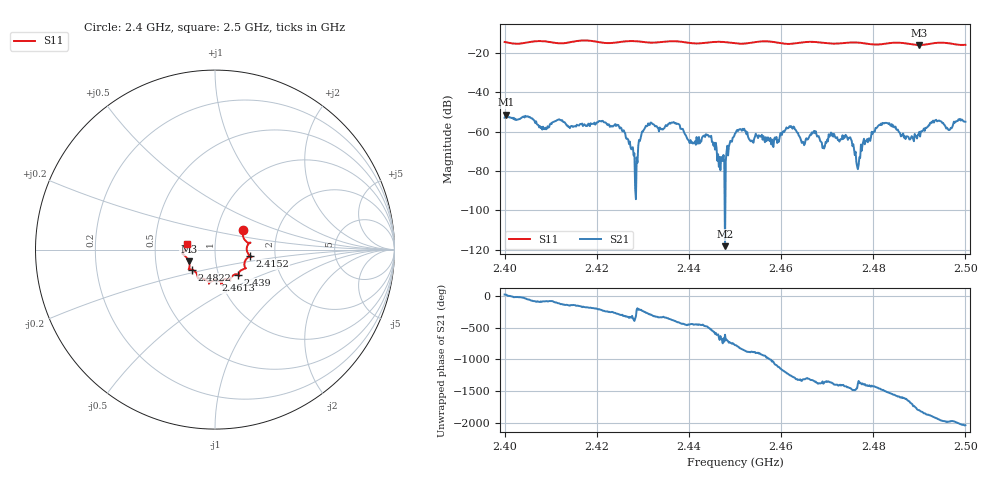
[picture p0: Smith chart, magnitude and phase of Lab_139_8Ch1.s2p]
# Hz S RI R 50
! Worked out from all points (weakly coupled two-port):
!   601 points, 2.4 GHz to 2.5 GHz, reference 50 ohm
!   highest |S21| = -51.34 dB at 2.4003 GHz (marker M1); lowest = -118.2 dB at 2.4478 GHz (marker M2)
!   lowest |S11| = -15.9 dB at 2.49 GHz (marker M3), VSWR 1.38, Z = 36.9 - j4.88 ohm
!   |S11| at or under -10 dB: start of sweep to end of sweep
!   S12 and S22 are empty: the file has one direction only
!   S11 on the Smith chart (normalised r, x): 2.4 GHz: 1.33, +0.31; 2.4152 GHz: 1.48, -0.11; 2.439 GHz: 1.24, -0.36; 2.4613 GHz: 0.96, -0.34; 2.4822 GHz: 0.76, -0.17; 2.5 GHz: 0.72, +0.05
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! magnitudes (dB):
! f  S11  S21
! 2.4 GHz  -14.4  -52.9
! 2.4003 GHz  -14.5  -51.3
! 2.4152 GHz  -14.1  -57.3
! 2.4167 GHz  -13.6  -56.2
! 2.4248 GHz  -14.4  -57.4
! 2.4283 GHz  -13.9  -89.0
! 2.4303 GHz  -14.4  -58.6
! 2.4333 GHz  -14.5  -58.1
! 2.439 GHz  -14.5  -60.6
! 2.4443 GHz  -14.6  -62.5
! 2.4478 GHz  -14.4  -118.2
! 2.45 GHz  -15.0  -60.9
! 2.4578 GHz  -14.2  -66.4
! 2.4613 GHz  -15.4  -58.2
! 2.4648 GHz  -14.5  -65.3
! 2.4667 GHz  -14.3  -60.4
! 2.4745 GHz  -14.7  -64.2
! 2.4767 GHz  -14.7  -79.1
! 2.4822 GHz  -15.4  -55.6
! 2.4833 GHz  -15.0  -56.2
! 2.49 GHz  -15.9  -60.1
! 2.5 GHz  -15.8  -54.9
